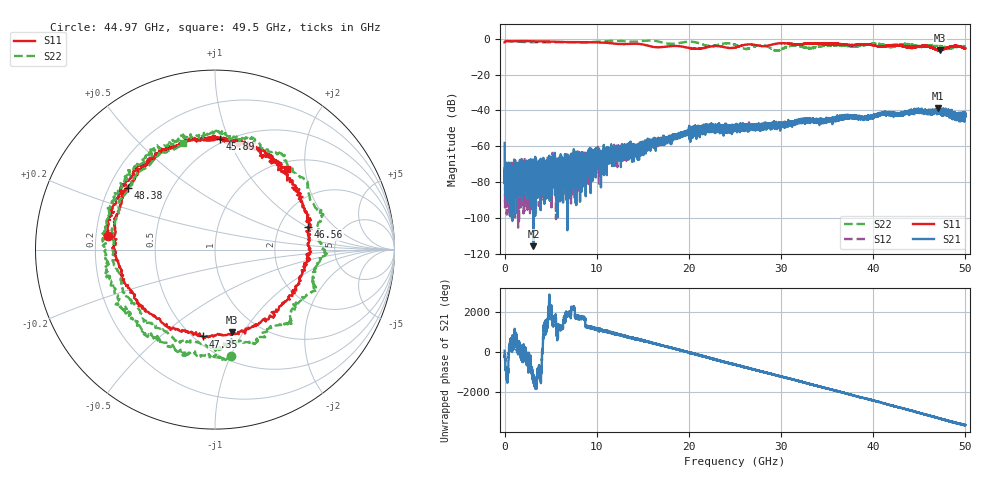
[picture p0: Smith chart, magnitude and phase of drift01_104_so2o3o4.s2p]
!Created with skrf (http://scikit-rf.org).
# Hz S RI R 50.0
!freq ReS11 ImS11 ReS21 ImS21 ReS12 ImS12 ReS22 ImS22
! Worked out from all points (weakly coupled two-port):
!   10001 points, 300 kHz to 50 GHz, reference 50 ohm
!   highest |S21| = -38.84 dB at 47.05 GHz (marker M1); lowest = -115.6 dB at 3.13 GHz (marker M2)
!   lowest |S11| = -6.6 dB at 47.22 GHz (marker M3), VSWR 2.77, Z = 37.8 - j44.6 ohm
!   |S11| at or under -10 dB: nowhere
!   |S22| runs from -6.8 to -1.0 dB; largest |S21 - S12| = 0.004
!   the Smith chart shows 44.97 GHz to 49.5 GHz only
!   S11 on the Smith chart (normalised r, x): 44.97 GHz: 0.25, +0.06; 45.89 GHz: 0.47, +0.93; 46.56 GHz: 2.90, +1.03; 47.35 GHz: 0.55, -0.70; 48.38 GHz: 0.28, +0.29; 49.5 GHz: 1.14, +1.59
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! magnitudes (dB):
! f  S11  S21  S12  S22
! 300 kHz  -2.1  -58.1  -79.5  -1.3
! 290.3 MHz  -1.4  -74.5  -78.6  -1.4
! 3.13 GHz  -1.5  -115.6  -77.1  -2.0
! 5.795 GHz  -1.8  -70.3  -71.6  -2.0
! 8.335 GHz  -1.9  -85.4  -66.7  -2.1
! 16.67 GHz  -4.8  -56.9  -57.4  -1.6
! 22.18 GHz  -4.6  -49.2  -48.8  -4.1
! 25 GHz  -5.0  -48.1  -50.1  -3.4
! 28.13 GHz  -4.2  -49.2  -48.7  -3.8
! 29.52 GHz  -2.8  -48.1  -47.9  -6.7
! 31.29 GHz  -3.1  -46.4  -47.6  -4.0
! 33.34 GHz  -2.6  -45.4  -44.9  -5.3
! 41.67 GHz  -3.9  -42.1  -41.8  -4.6
! 44.97 GHz  -4.4  -40.2  -40.5  -4.4
! 45.89 GHz  -4.2  -39.8  -41.2  -4.1
! 46.56 GHz  -5.4  -41.9  -41.1  -3.8
! 47.05 GHz  -6.3  -38.8  -40.1  -4.3
! 47.22 GHz  -6.6  -40.4  -40.6  -4.4
! 47.35 GHz  -6.2  -40.0  -41.3  -4.6
! 48.38 GHz  -4.5  -40.7  -42.7  -5.4
! 49.5 GHz  -4.5  -42.6  -42.8  -4.2
! 50 GHz  -5.4  -41.7  -44.2  -4.2
